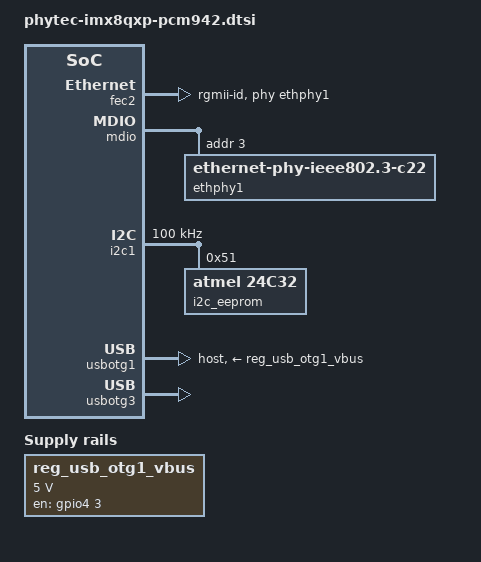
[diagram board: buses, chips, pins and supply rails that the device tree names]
// SPDX-License-Identifier: GPL-2.0+
/*
 * Copyright (C) 2021 PHYTEC America, LLC
 *
 * This program is free software; you can redistribute it and/or modify
 * it under the terms of the GNU General Public License version 2 as
 * published by the Free Software Foundation.
 */

/ {
	reg_usb_otg1_vbus: regulator@0 {
		compatible = "regulator-fixed";
		reg = <0>;
		regulator-name = "usb_otg1_vbus";
		regulator-min-microvolt = <5000000>;
		regulator-max-microvolt = <5000000>;
		gpio = <&gpio4 3 GPIO_ACTIVE_HIGH>;
		enable-active-high;
	};
};

&fec2 {
	pinctrl-names = "default";
	pinctrl-0 = <&pinctrl_fec2>;
	phy-mode = "rgmii-id";
	phy-handle = <&ethphy1>;
	fsl,magic-packet;
	status = "okay";
};

&mdio {
	ethphy1: ethernet-phy@3 {
		compatible = "ethernet-phy-ieee802.3-c22";
		reg = <3>;
		ti,rx-internal-delay = <DP83867_RGMIIDCTL_2_50_NS>;
		ti,tx-internal-delay = <DP83867_RGMIIDCTL_2_50_NS>;
		ti,fifo-depth = <DP83867_PHYCR_FIFO_DEPTH_8_B_NIB>;
		enet-phy-lane-no-swap;
	};
};

&i2c1 {
	clock-frequency = <100000>;
	pinctrl-names = "default";
	pinctrl-0 = <&pinctrl_lpi2c1>;
	status = "okay";

	i2c_eeprom: eeprom@51 {
		compatible = "atmel,24c32";
		pagesize = <32>;
		reg = <0x51>;
		status = "okay";
	};
};

&usbotg1 {
	pinctrl-names = "default";
	pinctrl-0 = <&pinctrl_usbotg1>;
	vbus-supply = <&reg_usb_otg1_vbus>;
	srp-disable;
	hnp-disable;
	adp-disable;
	power-polarity-active-high;
	disable-over-current;
	dr_mode = "host";
	status = "okay";
};

&usbotg3 {
	status = "okay";
};

&iomuxc {
	pinctrl-names = "default";
	pinctrl-0 = <&pinctrl_hog>;

	imx8qxp-pcm065 {

		pinctrl_hog: hoggrp {
			fsl,pins = <
				SC_P_SAI1_RXC_LSIO_GPIO0_IO30   0x06000021        /* USBOTG1 Port Select */
			>;
		};

		pinctrl_lpi2c1: lpi2c1cgrp {
			fsl,pins = <
				SC_P_USB_SS3_TC1_ADMA_I2C1_SCL  0x06000020
				SC_P_USB_SS3_TC3_ADMA_I2C1_SDA  0x06000020
			>;
		};

		pinctrl_fec2: fec2grp {
			fsl,pins = <
				SC_P_ESAI0_SCKR_CONN_ENET1_RGMII_TX_CTL         0x06000020
				SC_P_ESAI0_FSR_CONN_ENET1_RGMII_TXC             0x06000020
				SC_P_ESAI0_TX4_RX1_CONN_ENET1_RGMII_TXD0        0x06000020
				SC_P_ESAI0_TX5_RX0_CONN_ENET1_RGMII_TXD1        0x06000020
				SC_P_ESAI0_FST_CONN_ENET1_RGMII_TXD2            0x06000020
				SC_P_ESAI0_SCKT_CONN_ENET1_RGMII_TXD3           0x06000020
				SC_P_ESAI0_TX0_CONN_ENET1_RGMII_RXC             0x06000020
				SC_P_SPDIF0_TX_CONN_ENET1_RGMII_RX_CTL          0x06000020
				SC_P_SPDIF0_RX_CONN_ENET1_RGMII_RXD0            0x06000060
				SC_P_ESAI0_TX3_RX2_CONN_ENET1_RGMII_RXD1        0x06000060
				SC_P_ESAI0_TX2_RX3_CONN_ENET1_RGMII_RXD2        0x06000060
				SC_P_ESAI0_TX1_CONN_ENET1_RGMII_RXD3            0x06000060
			>;
		};

		pinctrl_usbotg1: usbotg1 {
			fsl,pins = <
				SC_P_USB_SS3_TC0_LSIO_GPIO4_IO03      0x06000021
			>;
		};

	};
};
